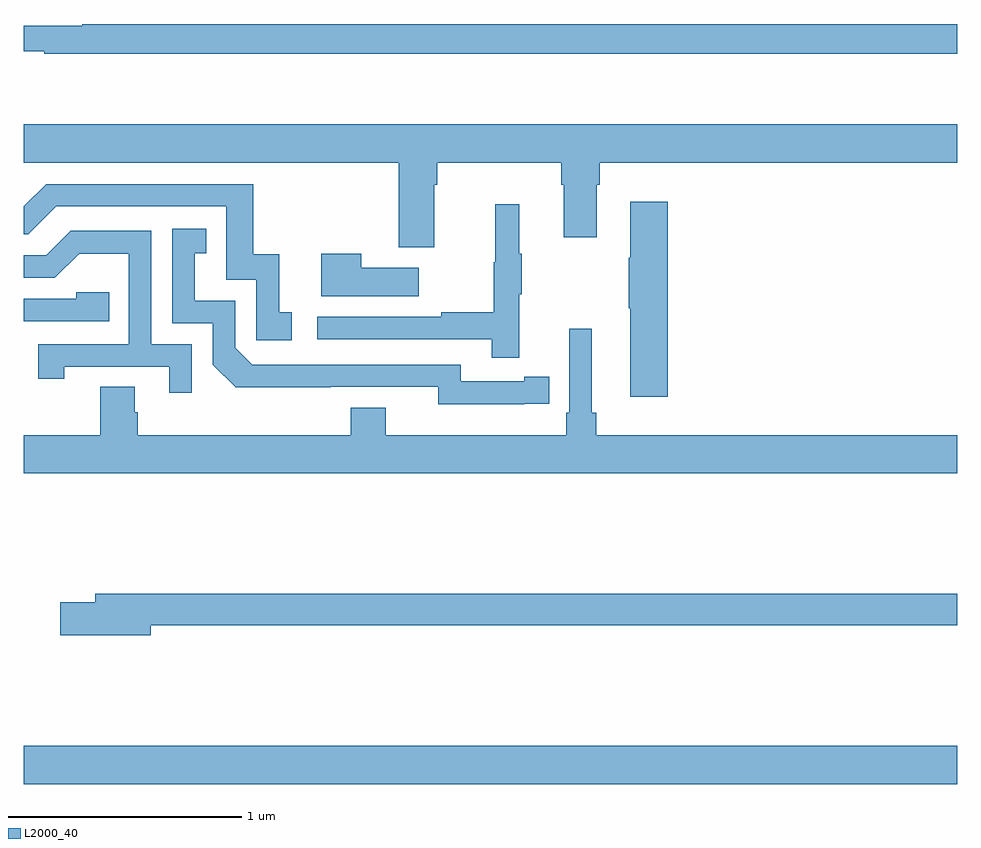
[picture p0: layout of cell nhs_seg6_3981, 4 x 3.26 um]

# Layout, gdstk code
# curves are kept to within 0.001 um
import gdstk
lib = gdstk.Library(unit=1e-6, precision=1e-09)
def R(c, l, rs):  # rectangles x0, y0, x1, y1
    for r in rs: c.add(gdstk.rectangle(r[:2], r[2:], *l))
def P(c, l, *ps):  # polygons
    for p in ps: c.add(gdstk.Polygon(p, *l))
L2000_40 = (2000, 40)

nhs_seg6_3981 = lib.new_cell('nhs_seg6_3981')
R(nhs_seg6_3981, L2000_40, [(345,989.96,349,990.124)])
P(nhs_seg6_3981, L2000_40, [(349,993.218),(345.25,993.218),(345.25,993.211),(345,993.211),(345,993.102),(345.088,993.102),(345.088,993.09),(349,993.09)],
  [(346.759,992.528),(346.772,992.528),(346.772,992.624),(347.303,992.624),(347.303,992.528),(347.315,992.528),(347.315,992.304),(347.455,992.304),(347.455,992.528),(347.468,992.528),(347.468,992.624),(349,992.624),(349,992.788),(345,992.788),(345,992.624),(346.607,992.624),(346.607,992.262),(346.759,992.262)],
  [(346.147,991.983),(346.094,991.983),(346.094,992.23),(345.983,992.23),(345.983,992.532),(345.096,992.532),(345,992.436),(345,992.316),(345.018,992.316),(345.138,992.436),(345.867,992.436),(345.867,992.121),(345.996,992.121),(345.996,991.863),(346.147,991.863)],
  [(347.759,992.455),(347.6,992.455),(347.6,992.216),(347.593,992.216),(347.593,991.999),(347.6,991.999),(347.6,991.62),(347.759,991.62)],
  [(347.123,992.059),(347.134,992.059),(347.134,992.233),(347.123,992.233),(347.123,992.446),(347.02,992.446),(347.02,992.196),(347.013,992.196),(347.013,991.982),(346.789,991.982),(346.789,991.962),(346.257,991.962),(346.257,991.866),(347.005,991.866),(347.005,991.788),(347.123,991.788)],
  [(347.144,991.59),(347.252,991.59),(347.252,991.706),(347.144,991.706),(347.144,991.686),(346.872,991.686),(346.872,991.758),(345.978,991.758),(345.906,991.83),(345.906,992.031),(345.733,992.031),(345.733,992.235),(345.782,992.235),(345.782,992.341),(345.636,992.341),(345.636,991.935),(345.81,991.935),(345.81,991.758),(345.908,991.661),(346.776,991.662),(346.776,991.589)],
  [(345.72,991.845),(345.546,991.845),(345.546,992.331),(345.2,992.331),(345.095,992.226),(345,992.226),(345,992.13),(345.132,992.13),(345.236,992.234),(345.45,992.234),(345.45,991.845),(345.061,991.845),(345.061,991.698),(345.172,991.698),(345.172,991.749),(345.623,991.749),(345.623,991.638),(345.72,991.638)],
  [(346.693,992.173),(346.445,992.173),(346.445,992.233),(346.274,992.233),(346.274,992.051),(346.693,992.051)],
  [(345.365,992.067),(345.225,992.067),(345.225,992.04),(345,992.04),(345,991.944),(345.365,991.944)],
  [(349,991.456),(347.453,991.456),(347.453,991.552),(347.434,991.552),(347.434,991.912),(347.337,991.912),(347.337,991.552),(347.324,991.552),(347.324,991.456),(346.552,991.456),(346.552,991.573),(346.4,991.573),(346.4,991.456),(345.488,991.456),(345.488,991.554),(345.475,991.554),(345.475,991.664),(345.328,991.664),(345.328,991.456),(345,991.456),(345,991.292),(349,991.292)],
  [(345.544,990.64),(349,990.64),(349,990.776),(345.305,990.776),(345.305,990.74),(345.156,990.74),(345.156,990.598),(345.544,990.598)])

lib.write_gds('nhs_seg6_3981.gds')
